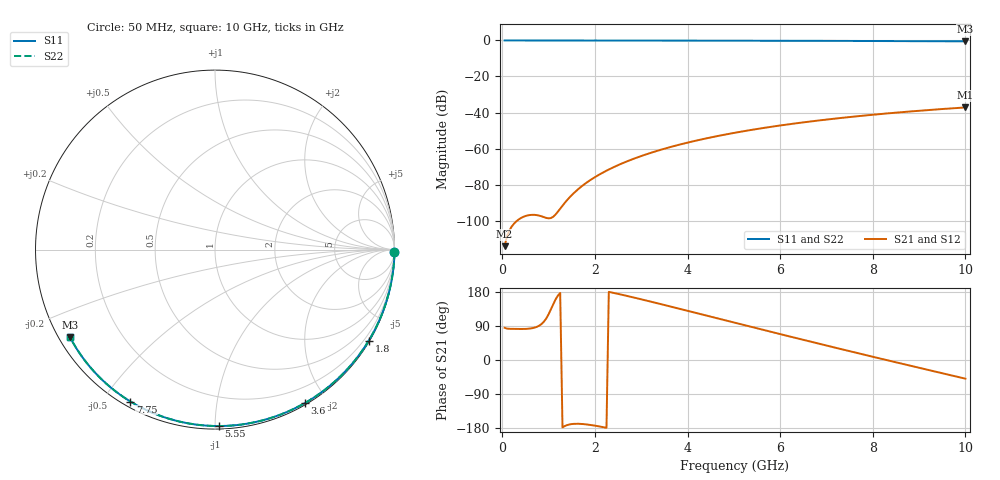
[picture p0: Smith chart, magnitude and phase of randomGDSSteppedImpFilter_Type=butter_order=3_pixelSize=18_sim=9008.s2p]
! freq	dB(S11)	phase(S11)	dB(S12)	phase(S12)
!  dB(S21)	phase(S21)	dB(S22)	phase(S22)
!S-par simulation data
#  GHz  S  DB  R 50
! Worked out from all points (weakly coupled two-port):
!   200 points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, 50 MHz to 10 GHz, reference 50 ohm
!   highest |S21| = -37.18 dB at 10 GHz (marker M1); lowest = -114.2 dB at 50 MHz (marker M2)
!   lowest |S11| = -0.5 dB at 10 GHz (marker M3), VSWR 34.58, Z = 1.56 - j13.9 ohm
!   |S11| at or under -10 dB: nowhere
!   |S22| runs from -0.5 to 0.0 dB; largest |S21 - S12| = 0
!   S11 on the Smith chart (normalised r, x): 50 MHz: open; 1.8 GHz: 0.03, -3.66; 3.6 GHz: 0.02, -1.74; 5.55 GHz: 0.02, -1.02; 7.75 GHz: 0.02, -0.59; 10 GHz: 0.03, -0.28
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0.05  -0.00 -0.9  -114.18 85.1  -114.18 85.1  -0.00 -0.9
0.45  -0.01 -7.8  -97.95 81.9  -97.95 81.9  -0.01 -7.8
0.9  -0.02 -15.5  -98.07 101.4  -98.07 101.4  -0.02 -15.5
1.3  -0.03 -22.2  -91.69 -177.9  -91.69 -177.9  -0.03 -22.2
1.75  -0.04 -29.8  -80.23 -169.1  -80.23 -169.1  -0.04 -29.8
1.8  -0.04 -30.6  -79.28 -169.7  -79.28 -169.7  -0.04 -30.6
1.95  -0.04 -33.1  -76.67 -172.2  -76.67 -172.2  -0.04 -33.1
2.1  -0.05 -35.6  -74.36 -175.4  -74.36 -175.4  -0.05 -35.6
2.3  -0.05 -38.8  -71.63 179.8  -71.63 179.8  -0.05 -38.8
2.5  -0.05 -42.1  -69.21 174.5  -69.21 174.5  -0.05 -42.1
2.9  -0.06 -48.6  -65.07 163.1  -65.07 163.1  -0.06 -48.6
3.4  -0.08 -56.5  -60.84 148.2  -60.84 148.2  -0.08 -56.5
3.6  -0.08 -59.6  -59.36 142.1  -59.36 142.1  -0.08 -59.6
4.3  -0.10 -70.4  -54.93 120.6  -54.93 120.6  -0.10 -70.4
5.05  -0.13 -81.5  -51.10 97.4  -51.10 97.4  -0.13 -81.5
5.55  -0.15 -88.8  -48.93 82.1  -48.93 82.1  -0.15 -88.8
6.1  -0.17 -96.6  -46.83 65.3  -46.83 65.3  -0.17 -96.6
6.7  -0.20 -104.9  -44.82 47.2  -44.82 47.2  -0.20 -104.9
7.75  -0.28 -119.1  -41.85 15.9  -41.85 15.9  -0.28 -119.1
8.35  -0.33 -127.1  -40.41 -1.7  -40.41 -1.7  -0.33 -127.1
9.2  -0.41 -138.3  -38.62 -26.3  -38.62 -26.3  -0.41 -138.3
10  -0.50 -148.9  -37.18 -49.3  -37.18 -49.3  -0.50 -148.9
